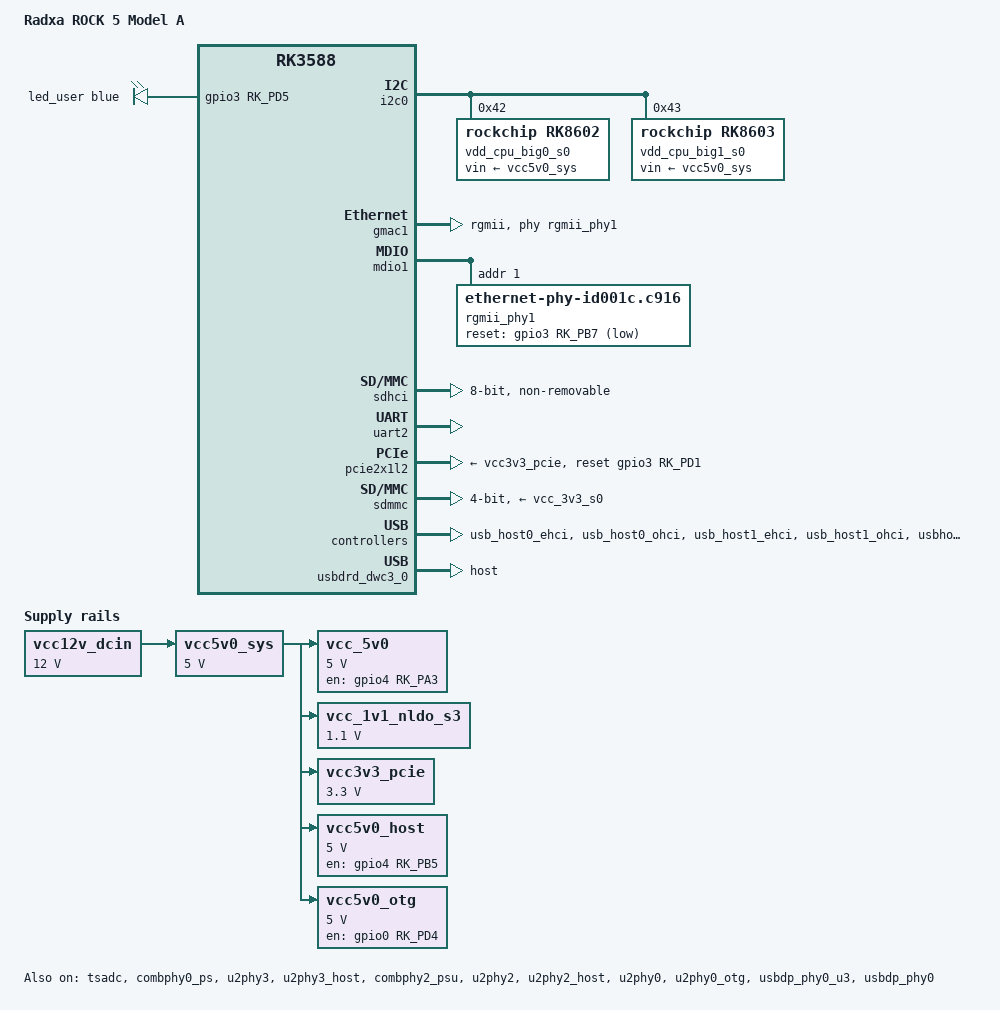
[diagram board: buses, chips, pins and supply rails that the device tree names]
// SPDX-License-Identifier: (GPL-2.0 OR MIT)

/dts-v1/;

#include <dt-bindings/gpio/gpio.h>
#include <dt-bindings/pinctrl/rockchip.h>
#include <dt-bindings/leds/common.h>
#include "rk3588s.dtsi"
#include "rk3588-rk806-single.dtsi"

/ {
	model = "Radxa ROCK 5 Model A";
	compatible = "radxa,rock-5a", "rockchip,rk3588";

	aliases {
		mmc0 = &sdhci;
		mmc1 = &sdmmc;
		serial2 = &uart2;
	};

	chosen {
		stdout-path = "serial2:1500000n8";
	};

	vcc12v_dcin: vcc12v-dcin {
		compatible = "regulator-fixed";
		regulator-name = "vcc12v_dcin";
		regulator-always-on;
		regulator-boot-on;
		regulator-min-microvolt = <12000000>;
		regulator-max-microvolt = <12000000>;
	};

	vcc5v0_sys: vcc5v0-sys {
		compatible = "regulator-fixed";
		regulator-name = "vcc5v0_sys";
		regulator-always-on;
		regulator-boot-on;
		regulator-min-microvolt = <5000000>;
		regulator-max-microvolt = <5000000>;
		vin-supply = <&vcc12v_dcin>;
	};

	vcc_5v0: vcc-5v0 {
		compatible = "regulator-fixed";
		regulator-name = "vcc_5v0";
		regulator-min-microvolt = <5000000>;
		regulator-max-microvolt = <5000000>;
		regulator-boot-on;
		regulator-always-on;
		enable-active-high;
		gpio = <&gpio4 RK_PA3 GPIO_ACTIVE_HIGH>;
		pinctrl-names = "default";
		pinctrl-0 = <&vcc_5v0_en>;
		vin-supply = <&vcc5v0_sys>;
	};

	vcc_1v1_nldo_s3: vcc-1v1-nldo-s3 {
		compatible = "regulator-fixed";
		regulator-name = "vcc_1v1_nldo_s3";
		regulator-always-on;
		regulator-boot-on;
		regulator-min-microvolt = <1100000>;
		regulator-max-microvolt = <1100000>;
		vin-supply = <&vcc5v0_sys>;
	};

	vcc3v3_pcie: vcc3v3-pcie {
		compatible = "regulator-fixed";
		regulator-name = "vcc3v3_pcie";
		regulator-min-microvolt = <3300000>;
		regulator-max-microvolt = <3300000>;
		startup-delay-us = <5000>;
		vin-supply = <&vcc5v0_sys>;
	};

	vcc5v0_host: vcc5v0-host {
		compatible = "regulator-fixed";
		regulator-name = "vcc5v0_host";
		regulator-boot-on;
		regulator-always-on;
		regulator-min-microvolt = <5000000>;
		regulator-max-microvolt = <5000000>;
		enable-active-high;
		gpio = <&gpio4 RK_PB5 GPIO_ACTIVE_HIGH>;
		pinctrl-names = "default";
		pinctrl-0 = <&vcc5v0_host_en>;
		vin-supply = <&vcc5v0_sys>;
	};

	vcc5v0_otg: vcc5v0-otg {
		compatible = "regulator-fixed";
		regulator-name = "vcc5v0_otg";
		regulator-min-microvolt = <5000000>;
		regulator-max-microvolt = <5000000>;
		enable-active-high;
		gpio = <&gpio0 RK_PD4 GPIO_ACTIVE_HIGH>;
		pinctrl-names = "default";
		pinctrl-0 = <&vcc5v0_otg_en>;
		vin-supply = <&vcc5v0_sys>;
	};

	leds {
		compatible = "gpio-leds";

		led_user: led-0 {
			gpios = <&gpio3 RK_PD5 GPIO_ACTIVE_HIGH>;
			color = <LED_COLOR_ID_BLUE>;
			function = LED_FUNCTION_DISK_ACTIVITY;
			linux,default-trigger = "mmc1";
			pinctrl-names = "default";
			pinctrl-0 = <&led_user_en>;
		};
	};
};

&i2c0 {
	pinctrl-names = "default";
	pinctrl-0 = <&i2c0m2_xfer>;
	status = "okay";

	vdd_cpu_big0_s0: vdd_cpu_big0_mem_s0: regulator@42 {
		compatible = "rockchip,rk8602";
		reg = <0x42>;
		fcs,suspend-voltage-selector = <1>;
		regulator-name = "vdd_cpu_big0_s0";
		regulator-always-on;
		regulator-boot-on;
		regulator-min-microvolt = <550000>;
		regulator-max-microvolt = <1050000>;
		regulator-ramp-delay = <2300>;
		vin-supply = <&vcc5v0_sys>;

		regulator-state-mem {
			regulator-off-in-suspend;
		};
	};

	vdd_cpu_big1_s0: vdd_cpu_big1_mem_s0: regulator@43 {
		compatible = "rockchip,rk8603", "rockchip,rk8602";
		reg = <0x43>;
		fcs,suspend-voltage-selector = <1>;
		regulator-name = "vdd_cpu_big1_s0";
		regulator-always-on;
		regulator-boot-on;
		regulator-min-microvolt = <550000>;
		regulator-max-microvolt = <1050000>;
		regulator-ramp-delay = <2300>;
		vin-supply = <&vcc5v0_sys>;

		regulator-state-mem {
			regulator-off-in-suspend;
		};
	};
};

&cpu_l0 {
	cpu-supply = <&vdd_cpu_lit_s0>;
	mem-supply = <&vdd_cpu_lit_mem_s0>;
};

&cpu_b0 {
	cpu-supply = <&vdd_cpu_big0_s0>;
	mem-supply = <&vdd_cpu_big0_mem_s0>;
};

&cpu_b1 {
	cpu-supply = <&vdd_cpu_big0_s0>;
	mem-supply = <&vdd_cpu_big0_mem_s0>;
};

&cpu_b2 {
	cpu-supply = <&vdd_cpu_big1_s0>;
	mem-supply = <&vdd_cpu_big1_mem_s0>;
};

&cpu_b3 {
	cpu-supply = <&vdd_cpu_big1_s0>;
	mem-supply = <&vdd_cpu_big1_mem_s0>;
};

&tsadc {
	status = "okay";
};

&gmac1 {
	clock_in_out = "output";
	phy-handle = <&rgmii_phy1>;
	phy-mode = "rgmii";
	pinctrl-0 = <&gmac1_miim
		     &gmac1_tx_bus2
		     &gmac1_rx_bus2
		     &gmac1_rgmii_clk
		     &gmac1_rgmii_bus>;
	pinctrl-names = "default";
	tx_delay = <0x3a>;
	rx_delay = <0x3e>;
	status = "okay";
};

&mdio1 {
	rgmii_phy1: ethernet-phy@1 {
		/* RTL8211F */
		compatible = "ethernet-phy-id001c.c916";
		reg = <0x1>;
		pinctrl-names = "default";
		pinctrl-0 = <&rtl8211f_rst>;
		reset-assert-us = <20000>;
		reset-deassert-us = <100000>;
		reset-gpios = <&gpio3 RK_PB7 GPIO_ACTIVE_LOW>;
	};
};

&pinctrl {
	rtl8211f {
		rtl8211f_rst: rtl8211f-rst {
			rockchip,pins = <3 RK_PB7 RK_FUNC_GPIO &pcfg_pull_none>;
		};
	};

	leds {
		led_user_en: led_user_en {
			rockchip,pins = <3 RK_PD5 RK_FUNC_GPIO &pcfg_pull_none>;
		};
	};

	power {
		vcc_5v0_en: vcc-5v0-en {
			rockchip,pins = <4 RK_PA3 RK_FUNC_GPIO &pcfg_pull_none>;
		};
	};

	usb {
		vcc5v0_host_en: vcc5v0-host-en {
			rockchip,pins = <4 RK_PB5 RK_FUNC_GPIO &pcfg_pull_none>;
		};

		vcc5v0_otg_en: vcc5v0-otg-en {
			rockchip,pins = <0 RK_PD4 RK_FUNC_GPIO &pcfg_pull_none>;
		};
	};
};

&sdhci {
	bus-width = <8>;
	no-sdio;
	no-sd;
	non-removable;
	max-frequency = <200000000>;
	mmc-hs400-1_8v;
	mmc-hs400-enhanced-strobe;
	status = "okay";
};

&uart2 {
	pinctrl-0 = <&uart2m0_xfer>;
	status = "okay";
};

&combphy0_ps {
	status = "okay";
};

&pcie2x1l2 {
	status = "okay";
	reset-gpios = <&gpio3 RK_PD1 GPIO_ACTIVE_HIGH>;
	vpcie3v3-supply = <&vcc3v3_pcie>;
};

&sdmmc {
	max-frequency = <150000000>;
	no-sdio;
	no-mmc;
	bus-width = <4>;
	cap-mmc-highspeed;
	cap-sd-highspeed;
	disable-wp;
	sd-uhs-sdr104;
	vmmc-supply = <&vcc_3v3_s0>;
	vqmmc-supply = <&vccio_sd_s0>;
	pinctrl-names = "default";
	pinctrl-0 = <&sdmmc_bus4 &sdmmc_clk &sdmmc_cmd &sdmmc_det>;
	status = "okay";
};

&u2phy3 {
	phy-supply = <&vcc5v0_host>;
	status = "okay";
};

&u2phy3_host {
	status = "okay";
	phy-supply = <&vcc5v0_host>;
};

&usb_host0_ehci {
	status = "okay";
};

&usb_host0_ohci {
	status = "okay";
};

&usb_host1_ehci {
	status = "okay";
};

&usb_host1_ohci {
	status = "okay";
};

&combphy2_psu {
	status = "okay";
};

&u2phy2 {
	status = "okay";
};

&u2phy2_host {
	status = "okay";
	phy-supply = <&vcc5v0_host>;
};

&usbhost3_0 {
	status = "okay";
};

&usbhost_dwc3_0 {
	status = "okay";
};

&u2phy0 {
	status = "okay";
};

&u2phy0_otg {
	status = "okay";
	vbus-supply = <&vcc5v0_otg>;
};

&usbdrd3_0 {
	status = "okay";
};

&usbdrd_dwc3_0 {
	dr_mode = "host";
	status = "okay";
};

&usbdp_phy0_u3 {
	status = "okay";
};

&usbdp_phy0 {
	status = "okay";
	rockchip,dp-lane-mux = < 2 3 >;
};
